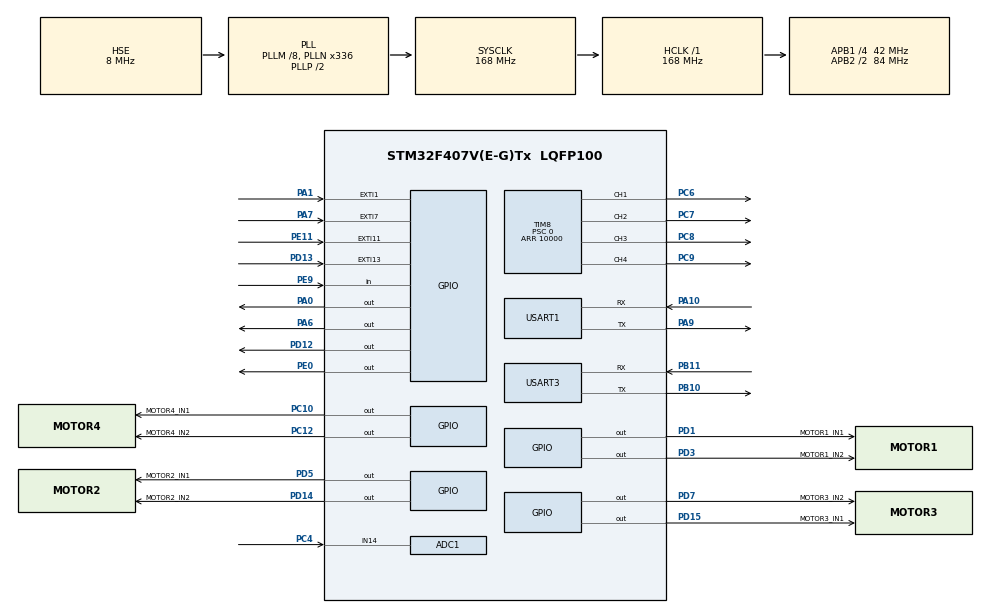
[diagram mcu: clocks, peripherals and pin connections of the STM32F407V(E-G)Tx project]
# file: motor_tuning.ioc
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ADC1.Channel-0\#ChannelRegularConversion=ADC_CHANNEL_14
ADC1.NbrOfConversionFlag=1
ADC1.Rank-0\#ChannelRegularConversion=1
ADC1.SamplingTime-0\#ChannelRegularConversion=ADC_SAMPLETIME_3CYCLES
ADC1.master=1
Mcu.Family=STM32F4
Mcu.Name=STM32F407V(E-G)Tx
Mcu.Package=LQFP100
NVIC.EXTI15_10_IRQn=true\:0\:0\:false\:false\:true\:true
NVIC.EXTI1_IRQn=true\:0\:0\:false\:false\:true\:true
NVIC.EXTI9_5_IRQn=true\:0\:0\:false\:false\:true\:true
NVIC.PriorityGroup=NVIC_PRIORITYGROUP_4
NVIC.TIM8_TRG_COM_TIM14_IRQn=true\:0\:0\:false\:false\:true\:true
PA0-WKUP.Signal=GPIO_Output
PA1.Signal=GPXTI1
PA10.Mode=Asynchronous
PA10.Signal=USART1_RX
PA13.Mode=Trace_Asynchronous_SW
PA13.Signal=SYS_JTMS-SWDIO
PA14.Mode=Trace_Asynchronous_SW
PA14.Signal=SYS_JTCK-SWCLK
PA6.Signal=GPIO_Output
PA7.Signal=GPXTI7
PA9.Mode=Asynchronous
PA9.Signal=USART1_TX
PB10.Mode=Asynchronous
PB10.Signal=USART3_TX
PB11.Mode=Asynchronous
PB11.Signal=USART3_RX
PB3.Mode=Trace_Asynchronous_SW
PB3.Signal=SYS_JTDO-SWO
PC10.GPIO_Label=MOTOR4_IN1
PC10.Signal=GPIO_Output
PC12.GPIO_Label=MOTOR4_IN2
PC12.Signal=GPIO_Output
PC4.Signal=ADCx_IN14
PC6.Signal=S_TIM8_CH1
PC7.Signal=S_TIM8_CH2
PC8.Signal=S_TIM8_CH3
PC9.Signal=S_TIM8_CH4
PD1.GPIO_Label=MOTOR1_IN1
PD1.Signal=GPIO_Output
PD12.Signal=GPIO_Output
PD13.Signal=GPXTI13
PD14.GPIO_Label=MOTOR2_IN2
PD14.Signal=GPIO_Output
PD15.GPIO_Label=MOTOR3_IN1
PD15.Signal=GPIO_Output
PD3.GPIO_Label=MOTOR1_IN2
PD3.Signal=GPIO_Output
PD5.GPIO_Label=MOTOR2_IN1
PD5.Signal=GPIO_Output
PD7.GPIO_Label=MOTOR3_IN2
PD7.Signal=GPIO_Output
PE0.Signal=GPIO_Output
PE11.Signal=GPXTI11
PE9.Signal=GPIO_Input
PH0-OSC_IN.Mode=HSE-External-Oscillator
PH0-OSC_IN.Signal=RCC_OSC_IN
PH1-OSC_OUT.Mode=HSE-External-Oscillator
PH1-OSC_OUT.Signal=RCC_OSC_OUT
ProjectManager.HeapSize=0x200
ProjectManager.StackSize=0x400
ProjectManager.TargetToolchain=Makefile
RCC.48MHZClocksFreq_Value=84000000
RCC.AHBFreq_Value=168000000
RCC.APB1CLKDivider=RCC_HCLK_DIV4
RCC.APB1Freq_Value=42000000
RCC.APB1TimFreq_Value=84000000
RCC.APB2CLKDivider=RCC_HCLK_DIV2
RCC.APB2Freq_Value=84000000
RCC.APB2TimFreq_Value=168000000
RCC.CortexFreq_Value=168000000
RCC.HCLKFreq_Value=168000000
RCC.HSE_VALUE=8000000
RCC.HSI_VALUE=16000000
RCC.LSE_VALUE=32768
RCC.PLLM=8
RCC.PLLN=336
RCC.PLLSourceVirtual=RCC_PLLSOURCE_HSE
RCC.SYSCLKFreq_VALUE=168000000
RCC.SYSCLKSource=RCC_SYSCLKSOURCE_PLLCLK
RCC.VCOOutputFreq_Value=336000000
SH.ADCx_IN14.0=ADC1_IN14,IN14
SH.S_TIM8_CH1.0=TIM8_CH1,PWM Generation1 CH1
SH.S_TIM8_CH2.0=TIM8_CH2,PWM Generation2 CH2
SH.S_TIM8_CH3.0=TIM8_CH3,PWM Generation3 CH3
SH.S_TIM8_CH4.0=TIM8_CH4,PWM Generation4 CH4
TIM14.Period=99
TIM14.Prescaler=41999
TIM8.Channel-PWM\ Generation1\ CH1=TIM_CHANNEL_1
TIM8.Channel-PWM\ Generation2\ CH2=TIM_CHANNEL_2
TIM8.Channel-PWM\ Generation3\ CH3=TIM_CHANNEL_3
TIM8.Channel-PWM\ Generation4\ CH4=TIM_CHANNEL_4
TIM8.CounterMode=TIM_COUNTERMODE_CENTERALIGNED1
TIM8.Period=10000
TIM8.Prescaler=0
USART1.VirtualMode=VM_ASYNC
USART3.VirtualMode=VM_ASYNC
VP_TIM14_VS_ClockSourceINT.Mode=Enable_Timer
board=custom

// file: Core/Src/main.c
/**
  ******************************************************************************
  * @file           : main.c
  * @brief          : Main program body
  ******************************************************************************
  ** This notice applies to any and all portions of this file
  * that are not between comment pairs USER CODE BEGIN and
  * USER CODE END. Other portions of this file, whether
  * inserted by the user or by software development tools
  * are owned by their respective copyright owners.
  *
  * COPYRIGHT(c) 2018 STMicroelectronics
  *
  * Redistribution and use in source and binary forms, with or without modification,
  * are permitted provided that the following conditions are met:
  *   1. Redistributions of source code must retain the above copyright notice,
  *      this list of conditions and the following disclaimer.
  *   2. Redistributions in binary form must reproduce the above copyright notice,
  *      this list of conditions and the following disclaimer in the documentation
  *      and/or other materials provided with the distribution.
  *   3. Neither the name of STMicroelectronics nor the names of its contributors
  *      may be used to endorse or promote products derived from this software
  *      without specific prior written permission.
  *
  * THIS SOFTWARE IS PROVIDED BY THE COPYRIGHT HOLDERS AND CONTRIBUTORS "AS IS"
  * AND ANY EXPRESS OR IMPLIED WARRANTIES, INCLUDING, BUT NOT LIMITED TO, THE
  * IMPLIED WARRANTIES OF MERCHANTABILITY AND FITNESS FOR A PARTICULAR PURPOSE ARE
  * DISCLAIMED. IN NO EVENT SHALL THE COPYRIGHT HOLDER OR CONTRIBUTORS BE LIABLE
  * FOR ANY DIRECT, INDIRECT, INCIDENTAL, SPECIAL, EXEMPLARY, OR CONSEQUENTIAL
  * DAMAGES (INCLUDING, BUT NOT LIMITED TO, PROCUREMENT OF SUBSTITUTE GOODS OR
  * SERVICES; LOSS OF USE, DATA, OR PROFITS; OR BUSINESS INTERRUPTION) HOWEVER
  * CAUSED AND ON ANY THEORY OF LIABILITY, WHETHER IN CONTRACT, STRICT LIABILITY,
  * OR TORT (INCLUDING NEGLIGENCE OR OTHERWISE) ARISING IN ANY WAY OUT OF THE USE
  * OF THIS SOFTWARE, EVEN IF ADVISED OF THE POSSIBILITY OF SUCH DAMAGE.
  *
  ******************************************************************************
  */
#include "main.h"
#include "stm32f4xx_hal.h"
#include "adc.h"
#include "tim.h"
#include "usart.h"
#include "gpio.h"

/* USER CODE BEGIN Includes */
#include "defines.h"
#include "robo_init.h"
#include "robot.h"
/* USER CODE END Includes */

/* USER CODE BEGIN PV */

int16_t pulses[4];

/* Private variables ---------------------------------------------------------*/

/* USER CODE END PV */

void SystemClock_Config(void);

/* USER CODE BEGIN PFP */
/* Private function prototypes -----------------------------------------------*/

/* USER CODE END PFP */

/* USER CODE BEGIN 0 */
void HAL_GPIO_EXTI_Callback(uint16_t GPIO_Pin)
{
        switch (GPIO_Pin) {
                case GPIO_PIN_1 : {             // PA1
                        if (HAL_GPIO_ReadPin(GPIOA, GPIO_PIN_0))
                        {
                                ++pulses[0];
                        }
                        else
                        {
                                --pulses[0];
                        }
                } break;

                case GPIO_PIN_7 : {             // PA7
                        if (HAL_GPIO_ReadPin(GPIOA, GPIO_PIN_6))
                        {
                                ++pulses[1];
                        }
                        else
                        {
                                --pulses[1];
                        }
                } break;

                case GPIO_PIN_11 : {            // PE11
                        if (HAL_GPIO_ReadPin(GPIOE, GPIO_PIN_9))
                        {
                                ++pulses[2];
                        }
                        else
                        {
                                --pulses[2];
                        }
                } break;

                case GPIO_PIN_13 : {            // PD13
                        if (HAL_GPIO_ReadPin(GPIOD, GPIO_PIN_12))
                        {
                                ++pulses[3];
                        }
                        else
                        {
                                --pulses[3];
                        }
                } break;

                default : {

                }
        }
}

/* USER CODE END 0 */

int main(void)
{
        /* USER CODE BEGIN 1 */
        int16_t pulse_buffer[4] = { 0 };
        int16_t d1_pb[3] = { 0 };
        int16_t d2_pb[2] = { 0 };
        int16_t d3_pb;

        float last_omega;

        uint32_t update_tick, tick;
        /* USER CODE END 1 */

        /* MCU Configuration----------------------------------------------------------*/

        /* Reset of all peripherals, Initializes the Flash interface and the Systick. */
        HAL_Init();

        /* Configure the system clock */
        SystemClock_Config();

        /* Initialize all configured peripherals */
        MX_GPIO_Init();
        MX_ADC1_Init();
        MX_TIM8_Init();
        MX_USART1_UART_Init();
        MX_USART3_UART_Init();
        MX_TIM14_Init();
        /* USER CODE BEGIN 2 */
        // sHAL_Delay(1000);
        HAL_TIM_Base_Start(&htim8);
        wheel_init();

        HAL_TIM_PWM_Start(&htim8, TIM_CHANNEL_1);
        HAL_TIM_PWM_Start(&htim8, TIM_CHANNEL_2);
        HAL_TIM_PWM_Start(&htim8, TIM_CHANNEL_3);
        HAL_TIM_PWM_Start(&htim8, TIM_CHANNEL_4);

        // HAL_TIM_Base_Start_IT(&htim14);

        // calculate_robot_velocity(0.1, 0.1);
        // run_CurrentConfig();
        set_Direction(&Wheel_arr[0], DIR_AHEAD);
        set_DutyCycle(&Wheel_arr[0], 65535);
        printf("%d\n", 0);

        update_tick = HAL_GetTick();
        tick = update_tick;
        uint32_t dt = 10L;

        int32_t i_omega;
        /* USER CODE END 2 */

        /* Infinite loop */
        while (1)
        {

                /* USER CODE BEGIN 3 */

                if (HAL_GetTick() - update_tick > dt) {
                        update_tick = HAL_GetTick();

                        for (uint8_t i = 0; i < 3; ++i) {
                                pulse_buffer[i] = pulse_buffer[i+1];
                        }
                        pulse_buffer[3] = pulses[0];

                        for (uint8_t i = 0; i < 2; ++i) {
                                d1_pb[i] = d1_pb[i+1];
                        }
                        d1_pb[2] = pulse_buffer[3] - pulse_buffer[2];

                        d2_pb[0] = d2_pb[1];
                        d2_pb[1] = d1_pb[2] - d1_pb[0];

                        d3_pb = d2_pb[1] - d2_pb[0];

                        last_omega = ((25.173) / dt) * (d1_pb[2] + d2_pb[1]/2.0 + d3_pb / 3.0);

                        i_omega = last_omega * 1000;

                        printf("%ld\n", i_omega);

                        // printf("%d\n", pulses[0]);

                }

                if (HAL_GetTick() - tick > 4000) {
                        break;
                }

        }

        for (uint16_t i = 65000; i > 1000; i -= 1000) {
                set_DutyCycle(&Wheel_arr[0], i);
                HAL_Delay(100);
        }

        set_DutyCycle(&Wheel_arr[0], 0);
        set_Direction(&Wheel_arr[0], DIR_HALT);

        while(1);

        /* USER CODE END 3 */
}

void SystemClock_Config(void)
{

        RCC_OscInitTypeDef RCC_OscInitStruct;
        RCC_ClkInitTypeDef RCC_ClkInitStruct;

        /**Configure the main internal regulator output voltage
    */
        __HAL_RCC_PWR_CLK_ENABLE();

        __HAL_PWR_VOLTAGESCALING_CONFIG(PWR_REGULATOR_VOLTAGE_SCALE1);

        /**Initializes the CPU, AHB and APB busses clocks
    */
        RCC_OscInitStruct.OscillatorType = RCC_OSCILLATORTYPE_HSE;
        RCC_OscInitStruct.HSEState = RCC_HSE_ON;
        RCC_OscInitStruct.PLL.PLLState = RCC_PLL_ON;
        RCC_OscInitStruct.PLL.PLLSource = RCC_PLLSOURCE_HSE;
        RCC_OscInitStruct.PLL.PLLM = 8;
        RCC_OscInitStruct.PLL.PLLN = 336;
        RCC_OscInitStruct.PLL.PLLP = RCC_PLLP_DIV2;
        RCC_OscInitStruct.PLL.PLLQ = 4;
        if (HAL_RCC_OscConfig(&RCC_OscInitStruct) != HAL_OK)
        {
                _Error_Handler(__FILE__, __LINE__);
        }

        /**Initializes the CPU, AHB and APB busses clocks
    */
        RCC_ClkInitStruct.ClockType = RCC_CLOCKTYPE_HCLK | RCC_CLOCKTYPE_SYSCLK | RCC_CLOCKTYPE_PCLK1 | RCC_CLOCKTYPE_PCLK2;
        RCC_ClkInitStruct.SYSCLKSource = RCC_SYSCLKSOURCE_PLLCLK;
        RCC_ClkInitStruct.AHBCLKDivider = RCC_SYSCLK_DIV1;
        RCC_ClkInitStruct.APB1CLKDivider = RCC_HCLK_DIV4;
        RCC_ClkInitStruct.APB2CLKDivider = RCC_HCLK_DIV2;

        if (HAL_RCC_ClockConfig(&RCC_ClkInitStruct, FLASH_LATENCY_5) != HAL_OK)
        {
                _Error_Handler(__FILE__, __LINE__);
        }

        /**Configure the Systick interrupt time
    */
        HAL_SYSTICK_Config(HAL_RCC_GetHCLKFreq() / 1000);

        /**Configure the Systick
    */
        HAL_SYSTICK_CLKSourceConfig(SYSTICK_CLKSOURCE_HCLK);

        /* SysTick_IRQn interrupt configuration */
        HAL_NVIC_SetPriority(SysTick_IRQn, 0, 0);
}

void _Error_Handler(char *file, int line)
{
        while (1)
        {
        }
}

/************************ (C) COPYRIGHT STMicroelectronics *****END OF FILE****/
